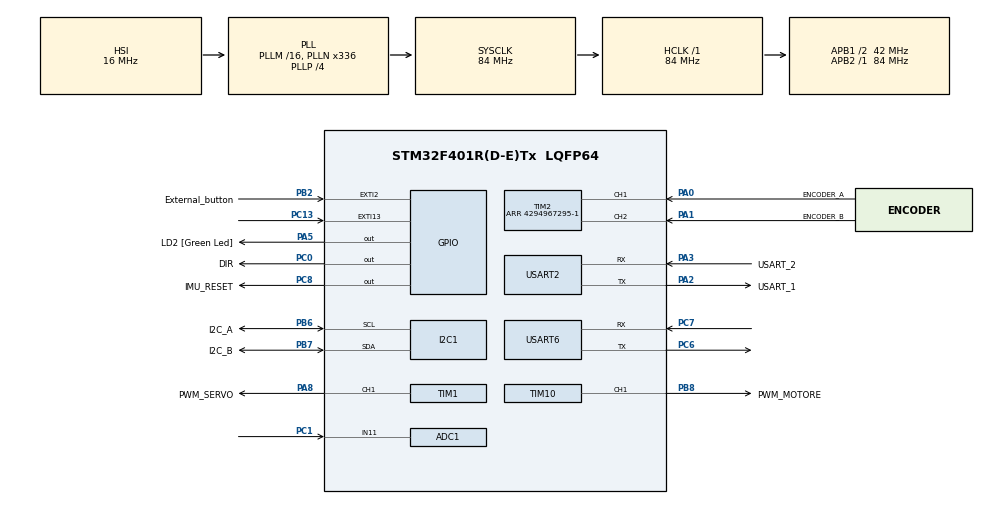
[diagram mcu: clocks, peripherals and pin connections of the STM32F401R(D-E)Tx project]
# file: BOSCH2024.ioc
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ADC1.Channel-0\#ChannelRegularConversion=ADC_CHANNEL_11
ADC1.NbrOfConversionFlag=1
ADC1.Rank-0\#ChannelRegularConversion=1
ADC1.SamplingTime-0\#ChannelRegularConversion=ADC_SAMPLETIME_3CYCLES
ADC1.master=1
Dma.Request0=USART6_RX
Dma.USART6_RX.0.Direction=DMA_PERIPH_TO_MEMORY
Dma.USART6_RX.0.FIFOMode=DMA_FIFOMODE_DISABLE
Dma.USART6_RX.0.Instance=DMA2_Stream1
Dma.USART6_RX.0.MemDataAlignment=DMA_MDATAALIGN_BYTE
Dma.USART6_RX.0.MemInc=DMA_MINC_ENABLE
Dma.USART6_RX.0.Mode=DMA_NORMAL
Dma.USART6_RX.0.PeriphDataAlignment=DMA_PDATAALIGN_BYTE
Dma.USART6_RX.0.PeriphInc=DMA_PINC_DISABLE
Dma.USART6_RX.0.Priority=DMA_PRIORITY_LOW
I2C1.I2C_Mode=I2C_Fast
Mcu.Family=STM32F4
Mcu.Name=STM32F401R(D-E)Tx
Mcu.Package=LQFP64
NVIC.DMA2_Stream1_IRQn=true\:0\:0\:false\:false\:true\:false\:true\:true
NVIC.EXTI15_10_IRQn=true\:0\:0\:false\:false\:true\:true\:true\:true
NVIC.EXTI2_IRQn=true\:0\:0\:false\:false\:true\:true\:true\:true
NVIC.PriorityGroup=NVIC_PRIORITYGROUP_0
NVIC.TIM1_BRK_TIM9_IRQn=true\:0\:0\:false\:false\:true\:true\:true\:true
NVIC.TIM1_TRG_COM_TIM11_IRQn=true\:0\:0\:false\:false\:true\:true\:true\:true
NVIC.USART6_IRQn=true\:0\:0\:false\:false\:true\:true\:true\:true
PA0-WKUP.GPIO_Label=ENCODER_A
PA0-WKUP.Signal=S_TIM2_CH1_ETR
PA1.GPIO_Label=ENCODER_B
PA1.Signal=S_TIM2_CH2
PA13.GPIO_Label=TMS
PA13.Mode=Serial_Wire
PA13.Signal=SYS_JTMS-SWDIO
PA14.GPIO_Label=TCK
PA14.Mode=Serial_Wire
PA14.Signal=SYS_JTCK-SWCLK
PA2.GPIO_Label=USART_1
PA2.Mode=Asynchronous
PA2.Signal=USART2_TX
PA3.GPIO_Label=USART_2
PA3.Mode=Asynchronous
PA3.Signal=USART2_RX
PA5.GPIO_Label=LD2 [Green Led]
PA5.Signal=GPIO_Output
PA8.GPIO_Label=PWM_SERVO
PA8.Signal=S_TIM1_CH1
PB2.GPIO_Label=External_button
PB2.GPIO_ModeDefaultEXTI=GPIO_MODE_IT_RISING_FALLING
PB2.Signal=GPXTI2
PB3.GPIO_Label=SWO
PB3.Signal=SYS_JTDO-SWO
PB6.GPIO_Label=I2C_A
PB6.Mode=I2C
PB6.Signal=I2C1_SCL
PB7.GPIO_Label=I2C_B
PB7.Mode=I2C
PB7.Signal=I2C1_SDA
PB8.GPIO_Label=PWM_MOTORE
PB8.Signal=S_TIM10_CH1
PC0.GPIO_Label=DIR
PC0.Signal=GPIO_Output
PC1.Signal=ADCx_IN11
PC13-ANTI_TAMP.GPIO_ModeDefaultEXTI=GPIO_MODE_IT_RISING_FALLING
PC13-ANTI_TAMP.Signal=GPXTI13
PC14-OSC32_IN.Mode=LSE-External-Oscillator
PC14-OSC32_IN.Signal=RCC_OSC32_IN
PC15-OSC32_OUT.Mode=LSE-External-Oscillator
PC15-OSC32_OUT.Signal=RCC_OSC32_OUT
PC6.Mode=Asynchronous
PC6.Signal=USART6_TX
PC7.Mode=Asynchronous
PC7.Signal=USART6_RX
PC8.GPIO_Label=IMU_RESET
PC8.PinState=GPIO_PIN_SET
PC8.Signal=GPIO_Output
PH0\ -\ OSC_IN.Mode=HSE-External-Clock-Source
PH0\ -\ OSC_IN.Signal=RCC_OSC_IN
PH1\ -\ OSC_OUT.Mode=HSE-External-Clock-Source
PH1\ -\ OSC_OUT.Signal=RCC_OSC_OUT
ProjectManager.HeapSize=0x200
ProjectManager.StackSize=0x400
ProjectManager.TargetToolchain=STM32CubeIDE
RCC.48MHZClocksFreq_Value=48000000
RCC.AHBFreq_Value=84000000
RCC.APB1CLKDivider=RCC_HCLK_DIV2
RCC.APB1Freq_Value=42000000
RCC.APB1TimFreq_Value=84000000
RCC.APB2Freq_Value=84000000
RCC.APB2TimFreq_Value=84000000
RCC.CortexFreq_Value=84000000
RCC.HCLKFreq_Value=84000000
RCC.HSE_VALUE=8000000
RCC.HSI_VALUE=16000000
RCC.PLLN=336
RCC.PLLP=RCC_PLLP_DIV4
RCC.PLLQ=7
RCC.SYSCLKFreq_VALUE=84000000
RCC.SYSCLKSource=RCC_SYSCLKSOURCE_PLLCLK
RCC.VCOOutputFreq_Value=336000000
SH.ADCx_IN11.0=ADC1_IN11,IN11
SH.S_TIM10_CH1.0=TIM10_CH1,PWM Generation1 CH1
SH.S_TIM1_CH1.0=TIM1_CH1,PWM Generation1 CH1
SH.S_TIM2_CH1_ETR.0=TIM2_CH1,Encoder_Interface
SH.S_TIM2_CH2.0=TIM2_CH2,Encoder_Interface
TIM1.Channel-PWM\ Generation1\ CH1=TIM_CHANNEL_1
TIM1.Period=1001-1
TIM1.Prescaler=1681-1
TIM1.Pulse-PWM\ Generation1\ CH1=0
TIM10.Channel=TIM_CHANNEL_1
TIM10.Period=2000-1
TIM10.Prescaler=840-1
TIM10.Pulse=0
TIM11.Period=7000-1
TIM11.Prescaler=120-1
TIM2.EncoderMode=TIM_ENCODERMODE_TI12
TIM2.IC1Filter=0
TIM2.Period=4294967295-1
USART2.VirtualMode=VM_ASYNC
USART6.VirtualMode=VM_ASYNC
VP_TIM10_VS_ClockSourceINT.Mode=Enable_Timer
VP_TIM11_VS_ClockSourceINT.Mode=Enable_Timer
VP_TIM1_VS_ClockSourceINT.Mode=Internal
board=NUCLEO-F401RE

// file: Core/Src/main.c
/* USER CODE BEGIN Header */
/**
 ******************************************************************************
 * @file           : main.c
 * @brief          : Main program body
 ******************************************************************************
 * @attention
 *
 * Copyright (c) 2023 STMicroelectronics.
 * All rights reserved.
 *
 * This software is licensed under terms that can be found in the LICENSE file
 * in the root directory of this software component.
 * If no LICENSE file comes with this software, it is provided AS-IS.
 *
 ******************************************************************************
 */
/* USER CODE END Header */
#include "main.h"

/* USER CODE BEGIN Includes */
#include <stdlib.h>
#include <stdbool.h>
#include <string.h>
#include "math.h"

#include "Configuration.h"
#include "bno055_stm32.h"
#include "servo_motor.h"
#include "PID.h"
#include "BL_motor.h"
#include "RX_UART.h"
/* USER CODE END Includes */

/* USER CODE BEGIN PTD */
typedef struct SerialDataRX {
	float curvature_radius_ref_m; // [m]
	float linear_speed_ref_m_s; //[m/s]
	int enable; //Start Flag [bool]
	float offset;
} serialDataRX;

typedef struct SerialDataTX {
	float current_speed_rpm; // [m]
	float current_servo_angle_deg; // [m/s]
	float current_yaw_rate_deg_sec; // [°/s]
	float quaternion_x;
	float quaternion_y;
	float quaternion_z;
	float quaternion_w;
	float magne_x;
	float magne_y;
	float magne_z;
	float accel_x;
	float accel_y;
	float accel_z;
	float angle_x;
	float angle_y;
	float angle_z;
} serialDataTX;

typedef struct VehicleData {
	//Trazione
	int counts;
	int ref_count;
	int delta_count;
	float delta_angle_deg; // [°]
	float motor_speed_deg_sec; // [°/s]
	float motor_speed_RPM; // RPM
	float linear_speed_m_s; //[m/s]
	float motor_speed_ref_RPM; // RPM
	uint8_t motor_direction_ref;

	//Sterzo
	double yaw_rate_rad_sec; // [rad/s]
	double yaw_rate_deg_sec; // [°/s]
	double yaw_rate_ref_rad_sec; //[rad/s]
} vehicleData;
/* USER CODE END PTD */

/* USER CODE BEGIN PD */
#define RxBuf_SIZE 50
#define msg_SIZE 45
/* USER CODE END PD */

ADC_HandleTypeDef hadc1;

I2C_HandleTypeDef hi2c1;

TIM_HandleTypeDef htim1;
TIM_HandleTypeDef htim2;
TIM_HandleTypeDef htim10;
TIM_HandleTypeDef htim11;

UART_HandleTypeDef huart2;
UART_HandleTypeDef huart6;
DMA_HandleTypeDef hdma_usart6_rx;

/* USER CODE BEGIN PV */

serialDataRX dataRX;
serialDataTX dataTX;
vehicleData vehicleState;

//PID
PID pid_traction, pid_traction_RWD, pid_traction_ASC, pid_traction_DESC, pid_steering;
double u_trazione = 0;
double u_sterzo = 0;

//Event control
int Flag_10ms = 0;
int HardwareEnable = 0;
int flag_button = 0;

//User button press
uint32_t buttonPressStartTime = 0;
uint32_t buttonPressEndTime = 0;
uint32_t pressDuration = 0;
uint32_t cnt_10ms_button = 0; //Aumenta ogni 10ms
int max_flag_button;

//Variabili per calibrazione ESC
int counter_cal_ESC = 0;
float duty;
int flag_cal = 0;

//Filtro per la velocità
#define MAX_RPM_VALUES 10
float tempRPM = 0;
int PtrRPM = 0;
float MeanRPM = 0;
float ArrayRPM[MAX_RPM_VALUES];

//Serial input buffer
uint8_t RxBuf[RxBuf_SIZE];
uint8_t msg[45] = { "\0" };
uint8_t char_in = '\0';
int msg_len = 0;
int MAX_VALUES = 3;
float last_read;
int cnt_DMA;
float last_curvature_radius_ref_m;
double collectedData[10][20];
//double averagedData[NUM_DATA_TO_AVERAGE];
double averagedData[10];
int pointer = 0;
const int FREQUENCY_STM=100,FREQUENCY_SENSOR_FUSION=10;
const int NUM_DATA_TO_AVERAGE=10;
// FREQUENCY_STM/FREQUENCY_SENSOR_FUSION
const int NUM_OF_SAMPLE_TO_AVERAGE = 20;

const float RPM_2_m_s = (2 * M_PI / 60) * WHEEL_RADIUS / MOTOR_REVOLUTION_FOR_ONE_WHEEL_REVOLUTION / GEARBOX_REDUCTION_RATIO;

/* USER CODE END PV */

void SystemClock_Config(void);
static void MX_GPIO_Init(void);
static void MX_DMA_Init(void);
static void MX_I2C1_Init(void);
static void MX_TIM1_Init(void);
static void MX_TIM10_Init(void);
static void MX_TIM11_Init(void);
static void MX_USART2_UART_Init(void);
static void MX_TIM2_Init(void);
static void MX_USART6_UART_Init(void);
static void MX_ADC1_Init(void);
/* USER CODE BEGIN PFP */
void TransmitTelemetry();
void ProceduraCalibrazione();
void resetBNO055();
/* USER CODE END PFP */

int main(void)
{

	/* MCU Configuration--------------------------------------------------------*/

	/* Reset of all peripherals, Initializes the Flash interface and the Systick. */
	HAL_Init();

	/* Configure the system clock */
	SystemClock_Config();

	/* Initialize all configured peripherals */
	MX_GPIO_Init();
	MX_DMA_Init();
	MX_I2C1_Init();
	MX_TIM1_Init();
	MX_TIM10_Init();
	MX_TIM11_Init();
	MX_USART2_UART_Init();
	MX_TIM2_Init();
	MX_USART6_UART_Init();
	MX_ADC1_Init();
	/* USER CODE BEGIN 2 */
	resetBNO055();	//IMU BNO055 Configuration

	bno055_assignI2C(&hi2c1);
	bno055_setup();
	bno055_setOperationModeNDOF();

	//attivo DMA per ricezione dati seriale
	HAL_UARTEx_ReceiveToIdle_DMA(&huart6, RxBuf, RxBuf_SIZE);
	__HAL_DMA_DISABLE_IT(&hdma_usart6_rx, DMA_IT_HT);
	//PWM Servo
	HAL_TIM_PWM_Start(&htim1, TIM_CHANNEL_1);
	//PWM DC motor
	HAL_TIM_PWM_Start(&htim10, TIM_CHANNEL_1);
	//ENCODER TIMER
	HAL_TIM_Encoder_Start(&htim2, TIM_CHANNEL_ALL);
	//10ms TIMER
	HAL_TIM_Base_Start_IT(&htim11);

	//PID traction FWD
	init_PID(&pid_traction, TRACTION_SAMPLING_TIME, MAX_U_TRACTION,
			MIN_U_TRACTION, NEUTRAL_PWM);
	tune_PID(&pid_traction, KP_TRACTION, KI_TRACTION, KD_TRACTION, -1);

	//PID traction RWD
	init_PID(&pid_traction_RWD, TRACTION_SAMPLING_TIME, MAX_U_TRACTION,
			MIN_U_TRACTION, NEUTRAL_PWM);
	tune_PID(&pid_traction_RWD, KP_TRACTION_RWD, KI_TRACTION_RWD, KD_TRACTION_RWD, -1);

	//PID traction ASC
	init_PID(&pid_traction_ASC, TRACTION_SAMPLING_TIME, MAX_U_TRACTION,
			MIN_U_TRACTION, NEUTRAL_PWM);
	tune_PID(&pid_traction_ASC, KP_TRACTION_ASC, KI_TRACTION_ASC, KD_TRACTION_ASC, -1);

	//PID traction DESC
	init_PID(&pid_traction_DESC, TRACTION_SAMPLING_TIME, MAX_U_TRACTION,
			MIN_U_TRACTION, NEUTRAL_PWM);
	tune_PID(&pid_traction_DESC, KP_TRACTION_DESC, KI_TRACTION_DESC, KD_TRACTION_DESC, -1);

	//PID steering
	init_PID(&pid_steering, STEERING_SAMPLING_TIME, MAX_U_STEERING,
			MIN_U_STEERING, 0);
	tune_PID(&pid_steering, KP_STEERING, KI_STEERING, 0, 50);

	//IMU BNO055 Configuration
	HAL_I2C_IsDeviceReady(&hi2c1, BNO055_I2C_ADDR << 1, 5, 1000);
	bno055_assignI2C(&hi2c1);
	bno055_setup();
	bno055_setOperationModeNDOF();

	printf("Initialization Completed!\r\n");

	//L MOTOR ENABLE
	BL_set_PWM(NEUTRAL_PWM);

	//Servo Neutral Position
	servo_motor(0);

	/* USER CODE END 2 */

	/* Infinite loop */
	while (1) {

		/* USER CODE BEGIN 3 */
		max_flag_button = 1;
		switch(flag_button){
		//Calibrazione
		case -1:
			//if(dataRX.enable == 0)
			ProceduraCalibrazione();
			break;
		case 0:
			HAL_GPIO_WritePin(GPIOA, GPIO_PIN_5, GPIO_PIN_RESET);
			HardwareEnable = 1;
			break;
		case 1:
			HAL_GPIO_WritePin(GPIOA, GPIO_PIN_5, GPIO_PIN_SET);
			HardwareEnable = 0;
			//dataRX.enable = 1;
			//dataRX.linear_speed_ref_m_s = 0.20;
			//dataRX.curvature_radius_ref_m = 100;
			break;
		}

		//-------------------------------------------------------------
		//Controllo
		if(bno055_getSystemStatus() != 5)
			HAL_NVIC_SystemReset();

		if (HardwareEnable == 1 && dataRX.enable == 1) {
			if (Flag_10ms == 1) {
				Flag_10ms = 0;

				if(dataRX.linear_speed_ref_m_s != 0){

					//-------------------------------------------------------------

					//TRACTION control

					//Measure speed with encoder
					vehicleState.ref_count = TIM2->ARR / 2;
					vehicleState.delta_count = vehicleState.counts - vehicleState.ref_count;

					vehicleState.delta_angle_deg = (vehicleState.delta_count * 360) / ((double) (ENCODER_PPR * ENCODER_COUNTING_MODE * GEARBOX_RATIO));
					vehicleState.motor_speed_deg_sec = vehicleState.delta_angle_deg / ENCODER_SAMPLING_TIME;
					tempRPM = BL_DegreeSec2RPM(vehicleState.motor_speed_deg_sec);

					//Filtraggio della velocità
					//-------------------------------------------
					ArrayRPM[PtrRPM] = tempRPM;
					MeanRPM = 0;
					for(int i = 0; i < MAX_RPM_VALUES; i++){
						MeanRPM += ArrayRPM[i];
					}
					MeanRPM /= MAX_RPM_VALUES;

					if(PtrRPM == MAX_RPM_VALUES-1)
						PtrRPM = 0;
					else
						PtrRPM++;
					vehicleState.motor_speed_RPM = MeanRPM;
					//-------------------------------------------

					//Speed reference for motor
					vehicleState.motor_speed_ref_RPM = dataRX.linear_speed_ref_m_s / RPM_2_m_s;

					bno055_vector_t p = bno055_getVectorEuler();
					float pitch = p.y;
					//printf("%f\r\n", pitch);

					// Decido quale PID usare in base al verso del moto
					//-------------------------------------------
					if(pitch < -3)
					{
						//u_trazione = PID_controller(&pid_traction_DESC, vehicleState.motor_speed_RPM, vehicleState.motor_speed_ref_RPM);
						//printf("DESC\r\n");
					}
					else if (pitch > 1)
					{
						//u_trazione = PID_controller(&pid_traction_ASC, vehicleState.motor_speed_RPM, vehicleState.motor_speed_ref_RPM);
						//printf("ASC\r\n");
					}
					else {
						if(vehicleState.motor_speed_ref_RPM >= 0){
							u_trazione = PID_controller(&pid_traction, vehicleState.motor_speed_RPM, vehicleState.motor_speed_ref_RPM);
							//printf("FWD\r\n");
						}
						else{
							u_trazione = PID_controller(&pid_traction_RWD, vehicleState.motor_speed_RPM, vehicleState.motor_speed_ref_RPM);
							//printf("RWD\r\n");
						}
					}
					//-------------------------------------------

					//Assegno il duty al motore
					if (vehicleState.motor_speed_ref_RPM == 0)
						BL_set_PWM(NEUTRAL_PWM);
					else
						BL_set_PWM(u_trazione);

					//printf("%f;%f\r\n", vehicleState.motor_speed_RPM * RPM_2_m_s, dataRX.linear_speed_ref_m_s);

					//-------------------------------------------------------------

					//STEERING control

					//Get yawrate from IMU
					bno055_vector_t v = bno055_getVectorGyroscope();
					vehicleState.yaw_rate_deg_sec = v.z;
					vehicleState.yaw_rate_rad_sec = (vehicleState.yaw_rate_deg_sec * M_PI) / 180;
					last_read = dataRX.curvature_radius_ref_m;

					// Decido quale PID usare in base al raggio di curvatura
					if (dataRX.curvature_radius_ref_m >= MAX_CURVATURE_RADIUS_FOR_STRAIGHT) {

						vehicleState.yaw_rate_ref_rad_sec = 0;

						u_sterzo = PID_controller(&pid_steering, vehicleState.yaw_rate_rad_sec, vehicleState.yaw_rate_ref_rad_sec);

						servo_motor(-u_sterzo); //Minus because yawrate and steering are opposite
					} else {

						vehicleState.linear_speed_m_s = vehicleState.motor_speed_RPM * RPM_2_m_s;
						if (dataRX.curvature_radius_ref_m == 0)
							vehicleState.yaw_rate_ref_rad_sec = 0;
						else
							vehicleState.yaw_rate_ref_rad_sec = vehicleState.linear_speed_m_s / dataRX.curvature_radius_ref_m;

						float yaw_rate_ref_rad_sec_abs = vehicleState.yaw_rate_ref_rad_sec;
						float yaw_rate_rad_sec_abs = vehicleState.yaw_rate_rad_sec;
						if (vehicleState.yaw_rate_ref_rad_sec < 0)
							yaw_rate_ref_rad_sec_abs = -vehicleState.yaw_rate_ref_rad_sec;
						if (vehicleState.yaw_rate_rad_sec < 0)
							yaw_rate_rad_sec_abs = -vehicleState.yaw_rate_rad_sec;

						u_sterzo = PID_controller(&pid_steering, yaw_rate_rad_sec_abs, yaw_rate_ref_rad_sec_abs);

						//Minus because yawrate and steering are opposite
						if (dataRX.curvature_radius_ref_m >= 0 && u_sterzo > 0)
							u_sterzo *= -1.0;
						if (dataRX.curvature_radius_ref_m < 0 && u_sterzo < 0)
							u_sterzo *= -1.0;

						servo_motor(u_sterzo);
						//servo_motor(0);
					}
					dataTX.current_servo_angle_deg = u_sterzo;
				}
				else {
					BL_set_PWM(NEUTRAL_PWM);
					servo_motor(0);

					resetPID(&pid_steering);
					resetPID(&pid_traction);
					resetPID(&pid_traction_RWD);
					resetPID(&pid_traction_DESC);
				}
			}
		} else {
			if(flag_button != -1){
				BL_set_PWM(NEUTRAL_PWM);
				servo_motor(0);

				// Reset dei pid
				resetPID(&pid_steering);
				resetPID(&pid_traction);
				resetPID(&pid_traction_RWD);
				resetPID(&pid_traction_DESC);
			}
		}
		TransmitTelemetry();

	}
	/* USER CODE END 3 */
}

void SystemClock_Config(void)
{
	RCC_OscInitTypeDef RCC_OscInitStruct = {0};
	RCC_ClkInitTypeDef RCC_ClkInitStruct = {0};

	/** Configure the main internal regulator output voltage
	 */
	__HAL_RCC_PWR_CLK_ENABLE();
	__HAL_PWR_VOLTAGESCALING_CONFIG(PWR_REGULATOR_VOLTAGE_SCALE2);

	/** Initializes the RCC Oscillators according to the specified parameters
	 * in the RCC_OscInitTypeDef structure.
	 */
	RCC_OscInitStruct.OscillatorType = RCC_OSCILLATORTYPE_HSI;
	RCC_OscInitStruct.HSIState = RCC_HSI_ON;
	RCC_OscInitStruct.HSICalibrationValue = RCC_HSICALIBRATION_DEFAULT;
	RCC_OscInitStruct.PLL.PLLState = RCC_PLL_ON;
	RCC_OscInitStruct.PLL.PLLSource = RCC_PLLSOURCE_HSI;
	RCC_OscInitStruct.PLL.PLLM = 16;
	RCC_OscInitStruct.PLL.PLLN = 336;
	RCC_OscInitStruct.PLL.PLLP = RCC_PLLP_DIV4;
	RCC_OscInitStruct.PLL.PLLQ = 7;
	if (HAL_RCC_OscConfig(&RCC_OscInitStruct) != HAL_OK)
	{
		Error_Handler();
	}

	/** Initializes the CPU, AHB and APB buses clocks
	 */
	RCC_ClkInitStruct.ClockType = RCC_CLOCKTYPE_HCLK|RCC_CLOCKTYPE_SYSCLK
			|RCC_CLOCKTYPE_PCLK1|RCC_CLOCKTYPE_PCLK2;
	RCC_ClkInitStruct.SYSCLKSource = RCC_SYSCLKSOURCE_PLLCLK;
	RCC_ClkInitStruct.AHBCLKDivider = RCC_SYSCLK_DIV1;
	RCC_ClkInitStruct.APB1CLKDivider = RCC_HCLK_DIV2;
	RCC_ClkInitStruct.APB2CLKDivider = RCC_HCLK_DIV1;

	if (HAL_RCC_ClockConfig(&RCC_ClkInitStruct, FLASH_LATENCY_2) != HAL_OK)
	{
		Error_Handler();
	}
}

static void MX_ADC1_Init(void)
{

	ADC_ChannelConfTypeDef sConfig = {0};

	/** Configure the global features of the ADC (Clock, Resolution, Data Alignment and number of conversion)
	 */
	hadc1.Instance = ADC1;
	hadc1.Init.ClockPrescaler = ADC_CLOCK_SYNC_PCLK_DIV4;
	hadc1.Init.Resolution = ADC_RESOLUTION_12B;
	hadc1.Init.ScanConvMode = DISABLE;
	hadc1.Init.ContinuousConvMode = DISABLE;
	hadc1.Init.DiscontinuousConvMode = DISABLE;
	hadc1.Init.ExternalTrigConvEdge = ADC_EXTERNALTRIGCONVEDGE_NONE;
	hadc1.Init.ExternalTrigConv = ADC_SOFTWARE_START;
	hadc1.Init.DataAlign = ADC_DATAALIGN_RIGHT;
	hadc1.Init.NbrOfConversion = 1;
	hadc1.Init.DMAContinuousRequests = DISABLE;
	hadc1.Init.EOCSelection = ADC_EOC_SINGLE_CONV;
	if (HAL_ADC_Init(&hadc1) != HAL_OK)
	{
		Error_Handler();
	}

	/** Configure for the selected ADC regular channel its corresponding rank in the sequencer and its sample time.
	 */
	sConfig.Channel = ADC_CHANNEL_11;
	sConfig.Rank = 1;
	sConfig.SamplingTime = ADC_SAMPLETIME_3CYCLES;
	if (HAL_ADC_ConfigChannel(&hadc1, &sConfig) != HAL_OK)
	{
		Error_Handler();
	}

}

static void MX_I2C1_Init(void)
{

	hi2c1.Instance = I2C1;
	hi2c1.Init.ClockSpeed = 400000;
	hi2c1.Init.DutyCycle = I2C_DUTYCYCLE_2;
	hi2c1.Init.OwnAddress1 = 0;
	hi2c1.Init.AddressingMode = I2C_ADDRESSINGMODE_7BIT;
	hi2c1.Init.DualAddressMode = I2C_DUALADDRESS_DISABLE;
	hi2c1.Init.OwnAddress2 = 0;
	hi2c1.Init.GeneralCallMode = I2C_GENERALCALL_DISABLE;
	hi2c1.Init.NoStretchMode = I2C_NOSTRETCH_DISABLE;
	if (HAL_I2C_Init(&hi2c1) != HAL_OK)
	{
		Error_Handler();
	}

}

static void MX_TIM1_Init(void)
{

	TIM_ClockConfigTypeDef sClockSourceConfig = {0};
	TIM_MasterConfigTypeDef sMasterConfig = {0};
	TIM_OC_InitTypeDef sConfigOC = {0};
	TIM_BreakDeadTimeConfigTypeDef sBreakDeadTimeConfig = {0};

	htim1.Instance = TIM1;
	htim1.Init.Prescaler = 1681-1;
	htim1.Init.CounterMode = TIM_COUNTERMODE_UP;
	htim1.Init.Period = 1001-1;
	htim1.Init.ClockDivision = TIM_CLOCKDIVISION_DIV1;
	htim1.Init.RepetitionCounter = 0;
	htim1.Init.AutoReloadPreload = TIM_AUTORELOAD_PRELOAD_DISABLE;
	if (HAL_TIM_Base_Init(&htim1) != HAL_OK)
	{
		Error_Handler();
	}
	sClockSourceConfig.ClockSource = TIM_CLOCKSOURCE_INTERNAL;
	if (HAL_TIM_ConfigClockSource(&htim1, &sClockSourceConfig) != HAL_OK)
	{
		Error_Handler();
	}
	if (HAL_TIM_PWM_Init(&htim1) != HAL_OK)
	{
		Error_Handler();
	}
	sMasterConfig.MasterOutputTrigger = TIM_TRGO_RESET;
	sMasterConfig.MasterSlaveMode = TIM_MASTERSLAVEMODE_DISABLE;
	if (HAL_TIMEx_MasterConfigSynchronization(&htim1, &sMasterConfig) != HAL_OK)
	{
		Error_Handler();
	}
	sConfigOC.OCMode = TIM_OCMODE_PWM1;
	sConfigOC.Pulse = 0;
	sConfigOC.OCPolarity = TIM_OCPOLARITY_HIGH;
	sConfigOC.OCNPolarity = TIM_OCNPOLARITY_HIGH;
	sConfigOC.OCFastMode = TIM_OCFAST_DISABLE;
	sConfigOC.OCIdleState = TIM_OCIDLESTATE_RESET;
	sConfigOC.OCNIdleState = TIM_OCNIDLESTATE_RESET;
	if (HAL_TIM_PWM_ConfigChannel(&htim1, &sConfigOC, TIM_CHANNEL_1) != HAL_OK)
	{
		Error_Handler();
	}
	sBreakDeadTimeConfig.OffStateRunMode = TIM_OSSR_DISABLE;
	sBreakDeadTimeConfig.OffStateIDLEMode = TIM_OSSI_DISABLE;
	sBreakDeadTimeConfig.LockLevel = TIM_LOCKLEVEL_OFF;
	sBreakDeadTimeConfig.DeadTime = 0;
	sBreakDeadTimeConfig.BreakState = TIM_BREAK_DISABLE;
	sBreakDeadTimeConfig.BreakPolarity = TIM_BREAKPOLARITY_HIGH;
	sBreakDeadTimeConfig.AutomaticOutput = TIM_AUTOMATICOUTPUT_DISABLE;
	if (HAL_TIMEx_ConfigBreakDeadTime(&htim1, &sBreakDeadTimeConfig) != HAL_OK)
	{
		Error_Handler();
	}
	HAL_TIM_MspPostInit(&htim1);

}

static void MX_TIM2_Init(void)
{

	TIM_Encoder_InitTypeDef sConfig = {0};
	TIM_MasterConfigTypeDef sMasterConfig = {0};

	htim2.Instance = TIM2;
	htim2.Init.Prescaler = 0;
	htim2.Init.CounterMode = TIM_COUNTERMODE_UP;
	htim2.Init.Period = 4294967295-1;
	htim2.Init.ClockDivision = TIM_CLOCKDIVISION_DIV1;
	htim2.Init.AutoReloadPreload = TIM_AUTORELOAD_PRELOAD_DISABLE;
	sConfig.EncoderMode = TIM_ENCODERMODE_TI12;
	sConfig.IC1Polarity = TIM_ICPOLARITY_RISING;
	sConfig.IC1Selection = TIM_ICSELECTION_DIRECTTI;
	sConfig.IC1Prescaler = TIM_ICPSC_DIV1;
	sConfig.IC1Filter = 0;
	sConfig.IC2Polarity = TIM_ICPOLARITY_RISING;
	sConfig.IC2Selection = TIM_ICSELECTION_DIRECTTI;
	sConfig.IC2Prescaler = TIM_ICPSC_DIV1;
	sConfig.IC2Filter = 0;
	if (HAL_TIM_Encoder_Init(&htim2, &sConfig) != HAL_OK)
	{
		Error_Handler();
	}
	sMasterConfig.MasterOutputTrigger = TIM_TRGO_RESET;
	sMasterConfig.MasterSlaveMode = TIM_MASTERSLAVEMODE_DISABLE;
	if (HAL_TIMEx_MasterConfigSynchronization(&htim2, &sMasterConfig) != HAL_OK)
	{
		Error_Handler();
	}

}

static void MX_TIM10_Init(void)
{

	TIM_OC_InitTypeDef sConfigOC = {0};

	htim10.Instance = TIM10;
	htim10.Init.Prescaler = 840-1;
	htim10.Init.CounterMode = TIM_COUNTERMODE_UP;
	htim10.Init.Period = 2000-1;
	htim10.Init.ClockDivision = TIM_CLOCKDIVISION_DIV1;
	htim10.Init.AutoReloadPreload = TIM_AUTORELOAD_PRELOAD_DISABLE;
	if (HAL_TIM_Base_Init(&htim10) != HAL_OK)
	{
		Error_Handler();
	}
	if (HAL_TIM_PWM_Init(&htim10) != HAL_OK)
	{
		Error_Handler();
	}
	sConfigOC.OCMode = TIM_OCMODE_PWM1;
	sConfigOC.Pulse = 0;
	sConfigOC.OCPolarity = TIM_OCPOLARITY_HIGH;
	sConfigOC.OCFastMode = TIM_OCFAST_DISABLE;
	if (HAL_TIM_PWM_ConfigChannel(&htim10, &sConfigOC, TIM_CHANNEL_1) != HAL_OK)
	{
		Error_Handler();
	}
	HAL_TIM_MspPostInit(&htim10);

}

static void MX_TIM11_Init(void)
{

	htim11.Instance = TIM11;
	htim11.Init.Prescaler = 120-1;
	htim11.Init.CounterMode = TIM_COUNTERMODE_UP;
	htim11.Init.Period = 7000-1;
	htim11.Init.ClockDivision = TIM_CLOCKDIVISION_DIV1;
	htim11.Init.AutoReloadPreload = TIM_AUTORELOAD_PRELOAD_DISABLE;
	if (HAL_TIM_Base_Init(&htim11) != HAL_OK)
	{
		Error_Handler();
	}

}

static void MX_USART2_UART_Init(void)
{

	huart2.Instance = USART2;
	huart2.Init.BaudRate = 115200;
	huart2.Init.WordLength = UART_WORDLENGTH_8B;
	huart2.Init.StopBits = UART_STOPBITS_1;
	huart2.Init.Parity = UART_PARITY_NONE;
	huart2.Init.Mode = UART_MODE_TX_RX;
	huart2.Init.HwFlowCtl = UART_HWCONTROL_NONE;
	huart2.Init.OverSampling = UART_OVERSAMPLING_16;
	if (HAL_UART_Init(&huart2) != HAL_OK)
	{
		Error_Handler();
	}

}

static void MX_USART6_UART_Init(void)
{

	huart6.Instance = USART6;
	huart6.Init.BaudRate = 115200;
	huart6.Init.WordLength = UART_WORDLENGTH_8B;
	huart6.Init.StopBits = UART_STOPBITS_1;
	huart6.Init.Parity = UART_PARITY_NONE;
	huart6.Init.Mode = UART_MODE_TX_RX;
	huart6.Init.HwFlowCtl = UART_HWCONTROL_NONE;
	huart6.Init.OverSampling = UART_OVERSAMPLING_16;
	if (HAL_UART_Init(&huart6) != HAL_OK)
	{
		Error_Handler();
	}

}

static void MX_DMA_Init(void)
{

	/* DMA controller clock enable */
	__HAL_RCC_DMA2_CLK_ENABLE();

	/* DMA interrupt init */
	/* DMA2_Stream1_IRQn interrupt configuration */
	HAL_NVIC_SetPriority(DMA2_Stream1_IRQn, 0, 0);
	HAL_NVIC_EnableIRQ(DMA2_Stream1_IRQn);

}

static void MX_GPIO_Init(void)
{
	GPIO_InitTypeDef GPIO_InitStruct = {0};

	/* GPIO Ports Clock Enable */
	__HAL_RCC_GPIOC_CLK_ENABLE();
	__HAL_RCC_GPIOH_CLK_ENABLE();
	__HAL_RCC_GPIOA_CLK_ENABLE();
	__HAL_RCC_GPIOB_CLK_ENABLE();

	/*Configure GPIO pin Output Level */
	HAL_GPIO_WritePin(DIR_GPIO_Port, DIR_Pin, GPIO_PIN_RESET);

	/*Configure GPIO pin Output Level */
	HAL_GPIO_WritePin(LD2_GPIO_Port, LD2_Pin, GPIO_PIN_RESET);

	/*Configure GPIO pin Output Level */
	HAL_GPIO_WritePin(IMU_RESET_GPIO_Port, IMU_RESET_Pin, GPIO_PIN_SET);

	/*Configure GPIO pin : PC13 */
	GPIO_InitStruct.Pin = GPIO_PIN_13;
	GPIO_InitStruct.Mode = GPIO_MODE_IT_RISING_FALLING;
	GPIO_InitStruct.Pull = GPIO_NOPULL;
	HAL_GPIO_Init(GPIOC, &GPIO_InitStruct);

	/*Configure GPIO pins : DIR_Pin IMU_RESET_Pin */
	GPIO_InitStruct.Pin = DIR_Pin|IMU_RESET_Pin;
	GPIO_InitStruct.Mode = GPIO_MODE_OUTPUT_PP;
	GPIO_InitStruct.Pull = GPIO_NOPULL;
	GPIO_InitStruct.Speed = GPIO_SPEED_FREQ_LOW;
	HAL_GPIO_Init(GPIOC, &GPIO_InitStruct);

	/*Configure GPIO pin : LD2_Pin */
	GPIO_InitStruct.Pin = LD2_Pin;
	GPIO_InitStruct.Mode = GPIO_MODE_OUTPUT_PP;
	GPIO_InitStruct.Pull = GPIO_NOPULL;
	GPIO_InitStruct.Speed = GPIO_SPEED_FREQ_LOW;
	HAL_GPIO_Init(LD2_GPIO_Port, &GPIO_InitStruct);

	/*Configure GPIO pin : External_button_Pin */
	GPIO_InitStruct.Pin = External_button_Pin;
	GPIO_InitStruct.Mode = GPIO_MODE_IT_RISING_FALLING;
	GPIO_InitStruct.Pull = GPIO_NOPULL;
	HAL_GPIO_Init(External_button_GPIO_Port, &GPIO_InitStruct);

	/* EXTI interrupt init*/
	HAL_NVIC_SetPriority(EXTI2_IRQn, 0, 0);
	HAL_NVIC_EnableIRQ(EXTI2_IRQn);

	HAL_NVIC_SetPriority(EXTI15_10_IRQn, 0, 0);
	HAL_NVIC_EnableIRQ(EXTI15_10_IRQn);

}

/* USER CODE BEGIN 4 */
//Timer11 for temporization
void HAL_TIM_PeriodElapsedCallback(TIM_HandleTypeDef *htim) {
	if (htim == &htim11) {
		Flag_10ms = 1;
		cnt_DMA++;
		if(cnt_DMA >= 10){
			HAL_UARTEx_ReceiveToIdle_DMA(&huart6, RxBuf, RxBuf_SIZE);
			cnt_DMA = 0;
		}

		//Encoder
		vehicleState.counts = TIM2->CNT;
		TIM2->CNT = TIM2->ARR / 2;

		cnt_10ms_button++;

		//Variabile per la calibrazione
		if(flag_button == -1){
			counter_cal_ESC++;
		}

	}
}

//USART2 -> ST_Link UART for DEBUG with USB (e.g. PUTTY)
int __io_putchar(int ch) {
	HAL_UART_Transmit(&huart2, (uint8_t*) &ch, 1, 0xFFFF); //putty
	HAL_UART_Transmit(&huart6, (uint8_t*) &ch, 1, 0xFFFF); //rpi
	return ch;
}

//-------------------------------------------------------------
//BLUE user button
void HAL_GPIO_EXTI_Callback(uint16_t GPIO_Pin) {
	if (GPIO_Pin == GPIO_PIN_13){// || GPIO_Pin == GPIO_PIN_2) {
		if ((HAL_GPIO_ReadPin(GPIOC, GPIO_PIN_13) == GPIO_PIN_RESET)){// || (HAL_GPIO_ReadPin(GPIOB, GPIO_PIN_2) == GPIO_PIN_RESET)) {
			// Button pressed
			buttonPressStartTime = cnt_10ms_button;

		} else { // Button released
			buttonPressEndTime = cnt_10ms_button;

			//Verifico quanto tempo ho tenuto premuto il tasto
			pressDuration = buttonPressEndTime - buttonPressStartTime;
			if (pressDuration < SHORT_PRESS_THRESHOLD){
				if(flag_button >= 0 && flag_button < max_flag_button){
					flag_button++;
				}
				else{
					flag_button = 0;
				}
			} else if (pressDuration >= LONG_PRESS_THRESHOLD){
				flag_button = -1;
				counter_cal_ESC = 0;
			}
		}
	}
}

//-------------------------------------------------------------
// COMUNICAZIONE (RICEZIONE DATI)
void HAL_UARTEx_RxEventCallback(UART_HandleTypeDef *huart, uint16_t Size){
	if (huart->Instance == USART6){
		cnt_DMA = 0;
		memcpy(msg, RxBuf, Size);
		float floatArray[MAX_VALUES];
		parseCSV(msg, floatArray);

		if(floatArray[0] == 0 || floatArray[0] == 1){
			dataRX.enable = floatArray[0];
			dataRX.linear_speed_ref_m_s = floatArray[1];

			if(dataRX.curvature_radius_ref_m != 0)
				last_curvature_radius_ref_m = dataRX.curvature_radius_ref_m;
			if(floatArray[2] == 0)
				dataRX.curvature_radius_ref_m = last_curvature_radius_ref_m;
			else
				dataRX.curvature_radius_ref_m = floatArray[2];

			if(floatArray[0] == 3){
				// Reset dei pid
				resetPID(&pid_steering);
				resetPID(&pid_traction);
				resetPID(&pid_traction_RWD);
				resetPID(&pid_traction_DESC);
			}

			HAL_UARTEx_ReceiveToIdle_DMA(&huart6, RxBuf, RxBuf_SIZE);
		}
	}
}
// COMUNICAZIONE (TRASMISSIONE DATI)
void TransmitTelemetry(){
	dataTX.current_speed_rpm = vehicleState.motor_speed_RPM;
	dataTX.current_yaw_rate_deg_sec = vehicleState.yaw_rate_deg_sec;

	bno055_vector_t accel = bno055_getVectorAccelerometer();
	bno055_vector_t angle = bno055_getVectorGyroscope();
	bno055_vector_t magne = bno055_getVectorMagnetometer();
	bno055_vector_t quat = bno055_getVectorQuaternion();
	bno055_calibration_state_t cal = bno055_getCalibrationState();
	/*
	dataTX.accel_x = accel.x;
	dataTX.accel_y = accel.y;
	dataTX.accel_z = accel.z;
	dataTX.angle_x = angle.x;
	dataTX.angle_y = angle.y;
	dataTX.angle_z = angle.z;
	dataTX.magne_x = magne.x;
	dataTX.magne_y = magne.y;
	dataTX.magne_z = magne.z;
	dataTX.quaternion_x = quat.x;
	dataTX.quaternion_y = quat.y;
	dataTX.quaternion_z = quat.z;
	dataTX.quaternion_w = quat.w;
	 */

	collectedData[0][pointer]=accel.x;
	collectedData[1][pointer]=accel.y;
	collectedData[2][pointer]=accel.z;
	collectedData[3][pointer]=cal.mag;
	collectedData[4][pointer]=angle.y;
	collectedData[5][pointer]=angle.z;
	collectedData[6][pointer]=magne.x;
	collectedData[7][pointer]=magne.y;
	collectedData[8][pointer]=magne.z;
	collectedData[9][pointer]=tempRPM * RPM_2_m_s;
	pointer++;
	if (pointer==NUM_OF_SAMPLE_TO_AVERAGE){
		pointer=0;
		for(int j=0;j<NUM_DATA_TO_AVERAGE;j++){
			double sum = 0.0;
			for(int i=0;i<NUM_OF_SAMPLE_TO_AVERAGE;i++){
				sum+=collectedData[j][i];
				//collectedData[j][i]=0;
			}
			averagedData[j]=sum/NUM_OF_SAMPLE_TO_AVERAGE;
		}

		printf("%+2.4f, %+2.4f, %+2.4f,"
				" %+2.4f, %+2.4f, %+2.4f,"
				" %+2.4f, %+2.4f, %+2.4f,"
				" %+2.4f\r\n",
				averagedData[0],averagedData[1],averagedData[2],
				averagedData[3],averagedData[4],averagedData[5],
				averagedData[6],averagedData[7],averagedData[8],
				averagedData[9]);

	}
	//printf("%2.4f, %2.4f, %2.4f, %2.4f, %2.4f, %2.4f, %2.4f, %2.4f, %2.4f, %2.4f\r\n", dataTX.accel_x, dataTX.accel_y, dataTX.accel_z, dataTX.angle_x, dataTX.angle_y, dataTX.angle_z, dataTX.quaternion_x, dataTX.quaternion_y, dataTX.quaternion_z, dataTX.quaternion_w);
	//printf("%+2.4f, %+2.4f, %+2.4f, %+2.4f, %+2.4f, %+2.4f, %+2.4f, %+2.4f, %+2.4f, %+2.4f\r\n", accel.x, accel.y, accel.z, angle.x, angle.y, angle.z, magne.x, magne.y, magne.z, tempRPM * RPM_2_m_s);
	//printf("%f;%f\r\n", dataRX.linear_speed_ref_m_s, vehicleState.linear_speed_m_s);
}

//-------------------------------------------------------------
//CALIBRAZIONE TEMPORIZZATA
void ProceduraCalibrazione(){

	if(counter_cal_ESC < 5){
		HAL_GPIO_WritePin(GPIOE, GPIO_PIN_1, GPIO_PIN_RESET);
	}
	if(counter_cal_ESC <= 300){
		if(!(counter_cal_ESC % 15)){
			HAL_GPIO_TogglePin(GPIOA, GPIO_PIN_5);
		}
	}
	else if(counter_cal_ESC <= 600){
		duty = NEUTRAL_PWM;
		BL_set_PWM(duty);
		HAL_GPIO_WritePin(GPIOA, GPIO_PIN_5, GPIO_PIN_SET);
		servo_motor(-20);
	}
	else if(counter_cal_ESC <= 900){
		duty = MAX_PWM;
		BL_set_PWM(duty);
		HAL_GPIO_WritePin(GPIOA, GPIO_PIN_5, GPIO_PIN_RESET);
		servo_motor(0);
	}
	else if(counter_cal_ESC <= 1100){
		duty = MIN_PWM;
		BL_set_PWM(duty);
		HAL_GPIO_WritePin(GPIOA, GPIO_PIN_5, GPIO_PIN_SET);
		servo_motor(20);
	}
	else if(counter_cal_ESC <= 1200){
		if(!(counter_cal_ESC % 15)){
			HAL_GPIO_TogglePin(GPIOA, GPIO_PIN_5);
		}
	}
	else if (counter_cal_ESC <= 1300){
		flag_button = 0;
	}
}

void resetBNO055(){
	HAL_GPIO_WritePin(IMU_RESET_GPIO_Port, IMU_RESET_Pin, GPIO_PIN_RESET);
	HAL_Delay(500);
	HAL_GPIO_WritePin(IMU_RESET_GPIO_Port, IMU_RESET_Pin, GPIO_PIN_SET);
	HAL_Delay(500);
}

/* USER CODE END 4 */

void Error_Handler(void)
{
	__disable_irq();
	while (1) {
	}
}
